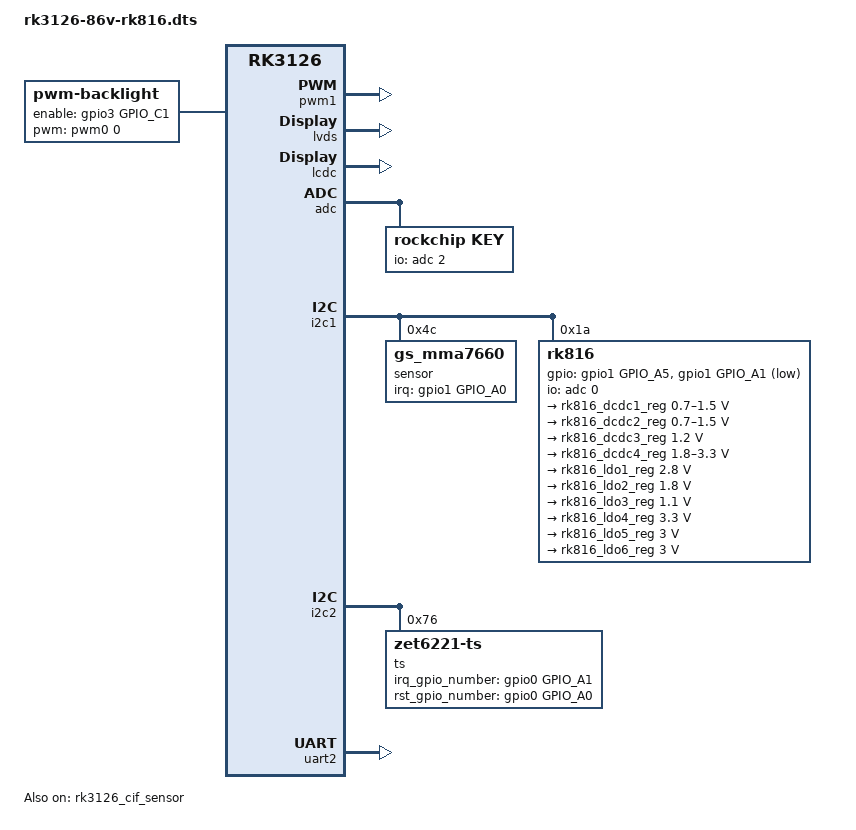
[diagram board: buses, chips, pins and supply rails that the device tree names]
/dts-v1/;

#include "rk3126.dtsi"
#include "lcd-86v-rgb1024x600.dtsi"
#include "rk3126-cif-sensor.dtsi"
#include "rk312x-sdk.dtsi"

/ {
	compatible = "rockchip,rk3126";
	backlight: backlight {
		compatible = "pwm-backlight";
		pwms = <&pwm0 0 25000>;
		brightness-levels = <255 169 168 168 167 166 166 165 164 164 163 162 162 161 160 160 159 158 158 157 156 156 155 154 154 153 152 152 151 150 150 149 148 148 147 146 146 145 144 144 143 142 142 141 140 140 139 138 138 137 136 136 135 134 134 133 132 132 131 130 130 129 128 128 127 126 126 125 124 124 123 122 122 121 120 120 119 118 118 117 116 116 115 114 114 113 112 112 111 110 110 109 108 108 107 106 106 105 104 104 103 102 102 101 100 100 99 98 98 97 96 96 95 94 94 93 92 92 91 90 90 89 88 88 87 86 86 85 84 84 83 82 82 81 80 80 79 78 78 77 76 76 75 74 74 73 72 72 71 70 70 69 68 68 67 66 66 65 64 64 63 62 62 61 60 60 59 58 58 57 56 56 55 54 54 53 52 52 51 50 50 49 48 48 47 46 46 45 44 44 43 42 42 41 40 40 39 38 38 37 36 36 35 34 34 33 32 32 31 30 30 29 28 28 27 26 26 25 24 24 23 22 22 21 20 20 19 18 18 17 16 16 15 14 14 13 12 12 11 10 10 9 8 8 7 6 6 5 4 4 3 2 2 1 1 1 0 >;
		default-brightness-level = <128>;
		enable-gpios = <&gpio3 GPIO_C1 GPIO_ACTIVE_HIGH>;
	};

	gpio_poweroff {
		compatible = "gpio-poweroff";
		//gpios = <&gpio1 GPIO_A2 GPIO_ACTIVE_LOW>;
	};

	usb_control {
		compatible = "rockchip,rk3126-usb-control";
		//host_drv_gpio = <&gpio2 GPIO_B4 GPIO_ACTIVE_LOW>;
		//otg_drv_gpio = <&gpio2 GPIO_B6 GPIO_ACTIVE_LOW>;

		rockchip,remote_wakeup;
		rockchip,usb_irq_wakeup;
	};

	wireless-wlan {
		compatible = "wlan-platdata";

		/* wifi_chip_type - wifi chip define
		 * ap6210, ap6330, ap6335
		 * rtl8188eu, rtl8723bs, rtl8723bu
		 * esp8089
		 */
		wifi_chip_type = "rtl8188eu";
		sdio_vref = <3000>; //1800mv or 3300mv

		power_ctrl_by_pmu;
		power_pmu_regulator = "rk816_ldo5";
		power_pmu_enable_level = <1>; //1->HIGH, 0->LOW

		//WIFI,poweren_gpio = <&gpio1 GPIO_A1 GPIO_ACTIVE_LOW>;
		//WIFI,host_wake_irq = <&gpio4 GPIO_D6 GPIO_ACTIVE_HIGH>;
		//WIFI,reset_gpio = <&gpio0 GPIO_A2 GPIO_ACTIVE_LOW>;

		status = "okay";
	};

	rockchip_suspend: rockchip_suspend {
		rockchip,ctrbits = <
			(0
			|RKPM_CTR_PWR_DMNS
			|RKPM_CTR_GTCLKS
			|RKPM_CTR_PLLS
			|RKPM_CTR_ARMOFF_LPMD
			|RKPM_CTR_IDLESRAM_MD
			|RKPM_CTR_DDR
			//|RKPM_CTR_VOLTS
			|RKPM_CTR_BUS_IDLE
			//|RKPM_CTR_VOL_PWM1
			)
			>;
		rockchip,pmic-suspend_gpios = <GPIO1_A1>;
	};

	chosen {
		bootargs = "vmalloc=496M rockchip_jtag";
	};
};

&vd_arm {
	pd_ddr {
		clk_ddr {
			operating-points = <
				/* KHz    uV */
				200000 1100000
				300000 1100000
				400000 1100000
				456000 1200000
				>;

			freq-table = <
				/*status		freq(KHz)*/
				SYS_STATUS_NORMAL	400000
				SYS_STATUS_SUSPEND	200000
				//SYS_STATUS_VIDEO_1080P  240000
				//SYS_STATUS_VIDEO_4K     400000
				SYS_STATUS_PERFORMANCE  456000
				//SYS_STATUS_DUALVIEW	400000
				//SYS_STATUS_BOOST	324000
				//SYS_STATUS_ISP		533000
				>;
			auto-freq-table = <
				240000
				324000
				396000
				528000
				>;
			auto-freq=<0>;
			status="okay";
		};
	};
	pd_gpu {
		clk_gpu {
			operating-points = <
				/* KHz    uV */
				200000 1100000
				300000 1100000
				400000  1150000
				//480000  1250000
				>;
				status = "okay";
		};
	};
	pd_core {
		clk_core {
			operating-points = <
				/* KHz    uV */
				216000 1000000
				408000 1000000
				600000 1100000
				696000 1150000
				816000 1200000
				1008000 1350000
				1200000 1425000
				>;
			virt-temp-limit-1-cpu-busy = <
			/* target-temp	limit-freq */
				75	1008000
				85	1200000
				95	1200000
				100	1200000
				>;
			virt-temp-limit-2-cpu-busy = <
			/* target-temp	limit-freq */
				75	912000
				85	1008000
				95	1104000
				100	1200000
				>;
			virt-temp-limit-3-cpu-busy = <
			/* target-temp	limit-freq */
				75	816000
				85	912000
				95	100800
				100	110400
				>;
			virt-temp-limit-4-cpu-busy = <
			/* target-temp	limit-freq */
				75	816000
				85	912000
				95	100800
				100	110400
				>;
			temp-limit-enable = <1>;
			target-temp = <85>;
			status = "okay";
		};
	};
};

&vd_logic {
	regulator_name = "vdd_logic";
	status = "disabled";
};

&pwm_regulator1 {
	status = "disabled";
};

&pwm1 {
	status = "okay";
};

&fb {
	rockchip,disp-mode = <NO_DUAL>;
	rockchip,uboot-logo-on = <1>;
};

&rk_screen {
	display-timings = <&disp_timings>;
};

&lvds {
	status = "okay";

	pinctrl-names = "lcdc";
	pinctrl-0 = <&lcdc0_lcdc_d>;
};

&lcdc {
	status = "okay";

	backlight = <&backlight>;
	pinctrl-names = "default", "gpio";
	pinctrl-0 = <&lcdc0_lcdc>;
	pinctrl-1 = <&lcdc0_gpio>;

	rockchip,fb-win-map = <FB_DEFAULT_ORDER>;

	power_ctr: power_ctr {
		rockchip,debug = <0>;
		lcd_en: lcd_en {
			rockchip,power_type = <GPIO>;
			gpios = <&gpio3 GPIO_B3 GPIO_ACTIVE_HIGH>;
			rockchip,delay = <10>;
		};
	};
};

&hdmi {
	status = "disabled";
};

&adc {
	status = "okay";

	key: key {
		compatible = "rockchip,key";
		io-channels = <&adc 2>;

		/delete-node/ menu-key;
		/delete-node/ home-key;
		/delete-node/ back-key;
		/delete-node/ back-key;

		vol-up-key {
			linux,code = <115>;
			label = "volume up";
			rockchip,adc_value = <1>;
		};

		vol-down-key {
			linux,code = <114>;
			label = "volume down";
			rockchip,adc_value = <512>;
		};

		power-key {
			gpios = <&gpio1 GPIO_A4 GPIO_ACTIVE_LOW>;
			linux,code = <116>;
			label = "power";
			gpio-key,wakeup;
		};
	};

	adc-battery {
		status = "disabled";
		compatible = "rk30-adc-battery";
		io-channels = <&adc 0>, <&adc 3>;
		dc_det_gpio = <&gpio2 GPIO_B1 GPIO_ACTIVE_LOW>;
		auto_calibration = <0>;
		ref_voltage = <3300>;
		//bat_low_gpio = <&gpio0 GPIO_A7 GPIO_ACTIVE_LOW>;
		//chg_ok_gpio = <&gpio0 GPIO_B1 GPIO_ACTIVE_HIGH>;
		bat_table = <0 0 0 0 100 100
			3500 3619 3678 3734 3742 3783 3813 3884 3968 4110 4220
			3750 3710 3770 3830 3850 3880 3910 3980 4060 4240 4300
			>;
		is_dc_charge = <1>;
		is_usb_charge = <0>;
	};
};

&i2c0 {
	status = "disabled";
	rk818: rk818@1c {
		reg = <0x1c>;
		status = "disabled";
	};
};

&i2c1 {
	status = "okay";

	sensor@4c {
		compatible = "gs_mma7660";
		reg = <0x4c>;
		type = <SENSOR_TYPE_ACCEL>;
		irq-gpio = <&gpio1 GPIO_A0 IRQ_TYPE_LEVEL_LOW>;
		irq_enable = <0>;
		poll_delay_ms = <30>;
		layout = <7>;
	};

	rk816: rk816@1a {
		reg = <0x1a>;
		status = "okay";
	};

	rtc@51 {
		compatible = "rtc,hym8563";
		reg = <0x51>;
		status = "disabled";
		irq_gpio = <&gpio1 GPIO_A5 IRQ_TYPE_EDGE_FALLING>;
	};
};

&i2c2 {
	status = "okay";

	ts@76 {
		compatible = "zet6221-ts";
		reg = <0x76>;
		pinctrl-names = "default", "gpio";
		pinctrl-0 = <&i2c0_sda &i2c0_scl>;
		pinctrl-1 = <&i2c0_gpio>;
		irq_gpio_number = <&gpio0 GPIO_A1 IRQ_TYPE_LEVEL_LOW>;
		rst_gpio_number = <&gpio0 GPIO_A0 GPIO_ACTIVE_HIGH>;
	};

	ts@55 {
		compatible = "goodix,gt8xx";
		reg = <0x55>;
		touch-gpio = <&gpio1 GPIO_B0 IRQ_TYPE_LEVEL_LOW>;
		reset-gpio = <&gpio2 GPIO_C1 GPIO_ACTIVE_LOW>;
		//power-gpio = <&gpio0 GPIO_C5 GPIO_ACTIVE_LOW>;
		max-x = <1280>;
		max-y = <800>;
		status = "disabled";
	};
};

&sdmmc {
	cd-gpios = <&gpio2 GPIO_A7 GPIO_ACTIVE_HIGH>;/*CD GPIO*/
	status = "disabled";
};

&sdio {
	status = "disabled";
};

&codec {
	spk_ctl_io = <&gpio1 GPIO_B0 GPIO_ACTIVE_HIGH>;
	spk-mute-delay = <200>;
	hp-mute-delay = <100>;
	rk312x_for_mid = <1>;
	is_rk3128 = <0>;
	spk_volume = <25>;
	hp_volume = <25>;
	capture_volume = <26>;
	gpio_debug = <0>;
	codec_hp_det = <0>;
};

&dwc_control_usb {
	usb_uart {
		status = "disable";
	};
};

&rk3126_cif_sensor{
	status = "okay";

	gc2035 {
		rockchip,powerdown = <&gpio1 GPIO_B2 GPIO_ACTIVE_HIGH>;
	};

	gc0308 {
		rockchip,powerdown = <&gpio1 GPIO_B1 GPIO_ACTIVE_HIGH>;
	};
};

&gmac {
	status = "disabled";
};

&rk818 {
	test-power {
		status = "disabled";
	};
};

&uart2 {
	status = "okay";
};

&pinctrl {
	init-gpios = <&gpio1 GPIO_C1 0>;
};

/include/ "rk816.dtsi"
&rk816 {
	gpios = <&gpio1 GPIO_A5 GPIO_ACTIVE_HIGH>, <&gpio1 GPIO_A1 GPIO_ACTIVE_LOW>;
	rockchip,system-power-controller;
	rk816,support_dc_chg = <1>;/*1: dc chg; 0:usb chg*/
	io-channels = <&adc 0>;
	gpio-controller;
	#gpio-cells = <2>;
	rtc {
		status = "okay";
	};

	regulators {
		rk816_dcdc1_reg: regulator@0{
			regulator-name= "vdd_arm";
			regulator-min-microvolt = <700000>;
			regulator-max-microvolt = <1500000>;
			regulator-initial-mode = <0x2>;
			regulator-initial-state = <3>;
			regulator-always-on;
			regulator-state-mem {
				regulator-state-mode = <0x2>;
				regulator-state-disabled;
				regulator-state-uv = <900000>;
			};
		};

		rk816_dcdc2_reg: regulator@1 {
			regulator-name= "vdd_logic";
			regulator-min-microvolt = <700000>;
			regulator-max-microvolt = <1500000>;
			regulator-initial-mode = <0x2>;
			regulator-initial-state = <3>;
			regulator-always-on;
			regulator-state-mem {
				regulator-state-mode = <0x2>;
				regulator-state-enabled;
				regulator-state-uv = <1000000>;
			};
		};

		rk816_dcdc3_reg: regulator@2 {
			regulator-name= "rk816_dcdc3";
			regulator-min-microvolt = <1200000>;
			regulator-max-microvolt = <1200000>;
			regulator-initial-mode = <0x2>;
			regulator-initial-state = <3>;
			regulator-always-on;
			regulator-state-mem {
				regulator-state-mode = <0x2>;
				regulator-state-enabled;
				regulator-state-uv = <1200000>;
			};
		};

		rk816_dcdc4_reg: regulator@3 {
			regulator-name= "vccio";
			regulator-min-microvolt = <1800000>;
			regulator-max-microvolt = <3300000>;
			regulator-initial-mode = <0x1>;/*fast mode*/
			regulator-initial-state = <3>;
			regulator-always-on;
			regulator-state-mem {
				regulator-state-mode = <0x2>;
				regulator-state-enabled;
				regulator-state-uv = <2800000>;
			};
		};

		rk816_ldo1_reg: regulator@4 {
			regulator-name= "rk816_ldo1";
			regulator-min-microvolt = <2800000>;
			regulator-max-microvolt = <2800000>;
			regulator-initial-state = <3>;
			regulator-always-on;
			regulator-state-mem {
				regulator-state-disabled;
				regulator-state-uv = <2800000>;
			};
		};

		rk816_ldo2_reg: regulator@5 {
			regulator-name= "rk816_ldo2";
			regulator-min-microvolt = <1800000>;
			regulator-max-microvolt = <1800000>;
			regulator-initial-state = <3>;
			regulator-always-on;
			regulator-state-mem {
				regulator-state-disabled;
				regulator-state-uv = <1800000>;
			};
		};

		rk816_ldo3_reg: regulator@6 {
			regulator-name= "rk816_ldo3";
			regulator-min-microvolt = <1100000>;
			regulator-max-microvolt = <1100000>;
			regulator-initial-state = <3>;
			regulator-always-on;
			regulator-state-mem {
				regulator-state-enabled;
				regulator-state-uv = <1100000>;
			};
		};

		rk816_ldo4_reg:regulator@7 {
			regulator-name= "rk816_ldo4";
			regulator-min-microvolt = <3300000>;
			regulator-max-microvolt = <3300000>;
			regulator-initial-state = <3>;
			regulator-always-on;
			regulator-state-mem {
				regulator-state-disabled;
				regulator-state-uv = <3300000>;
			};
		};

		rk816_ldo5_reg: regulator@8 {
			regulator-name= "rk816_ldo5";
			regulator-min-microvolt = <3000000>;
			regulator-max-microvolt = <3000000>;
			regulator-initial-state = <3>;
			regulator-always-on;
			regulator-state-mem {
				regulator-state-disabled;
				regulator-state-uv = <3000000>;
			};
		};

		rk816_ldo6_reg: regulator@9 {
			regulator-name= "rk816_ldo6";
			regulator-min-microvolt = <3000000>;
			regulator-max-microvolt = <3000000>;
			regulator-initial-state = <3>;
			regulator-always-on;
			regulator-state-mem {
				regulator-state-disabled;
				regulator-state-uv = <3000000>;
			};
		};
	};

	battery {
			compatible = "rk816-battery";
			ocv_table = < 3400 3599 3671 3701 3728 3746 3762
				3772 3781 3792 3816 3836 3866 3910
				3942 3971 4002 4050 4088 4132 4183>;
			design_capacity = <4000>;
			design_qmax = <4100>;
			bat_res = <100>;
			max_input_current = <2000>;
			max_chrg_current = <1800>;
			max_chrg_voltage = <4200>;
			sleep_enter_current = <300>;
			sleep_exit_current = <300>;
			sleep_filter_current = <100>;
			power_off_thresd = <3400>;
			zero_algorithm_vol = <3850>;
			max_soc_offset = <60>;
			monitor_sec = <5>;
			virtual_power = <0>;
			power_dc2otg = <1>;
			dc_det_adc = <1>;
		};

	gpio {
		compatible = "rk816-gpio";
	};
};
